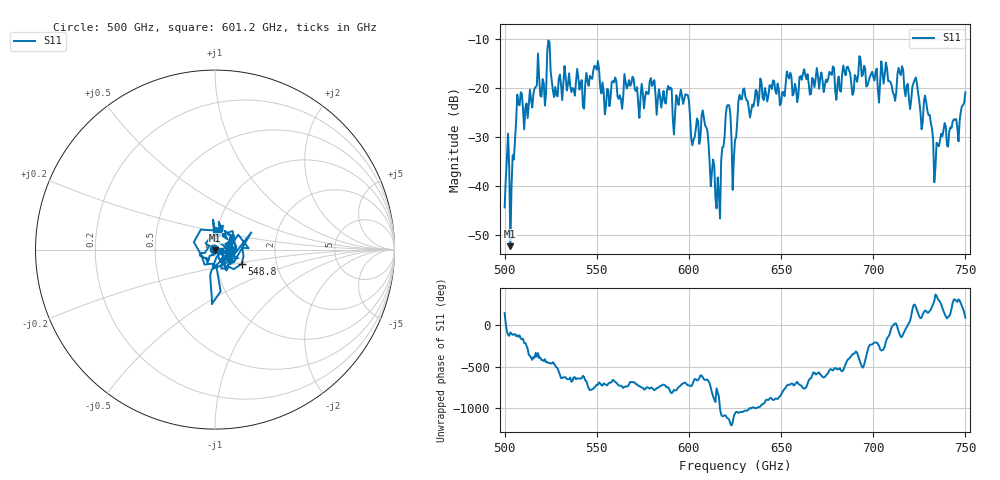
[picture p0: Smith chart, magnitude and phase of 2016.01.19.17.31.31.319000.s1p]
!Created with skrf (http://scikit-rf.org).
# GHz S RI R 50.0
!freq ReS11 ImS11
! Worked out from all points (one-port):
!   401 points, 500 GHz to 750 GHz, reference 50 ohm
!   lowest |S11| = -52.3 dB at 503.1 GHz (marker M1), VSWR 1.00, Z = 50 - j0.241 ohm
!   |S11| at or under -10 dB: start of sweep to end of sweep
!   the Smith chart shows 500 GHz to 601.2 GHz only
!   S11 on the Smith chart (normalised r, x): 500 GHz: 0.99, +0.01; 548.8 GHz: 1.33, -0.22; 601.2 GHz: 1.06, -0.02
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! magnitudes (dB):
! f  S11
! 500 GHz  -44.4
! 503.1 GHz  -52.3
! 504.4 GHz  -33.8
! 508.1 GHz  -23.5
! 521.2 GHz  -19.1
! 524.4 GHz  -10.7
! 527.5 GHz  -19.8
! 531.2 GHz  -22.5
! 548.8 GHz  -15.5
! 562.5 GHz  -21.5
! 580 GHz  -19.6
! 593.8 GHz  -22.3
! 598.8 GHz  -21.4
! 601.2 GHz  -30.3
! 608.8 GHz  -27.6
! 615.6 GHz  -38.3
! 621.2 GHz  -23.5
! 625 GHz  -30.7
! 628.8 GHz  -22.3
! 656.2 GHz  -21.6
! 687.5 GHz  -17.0
! 705.6 GHz  -19.1
! 711.2 GHz  -21.5
! 715 GHz  -17.4
! 718.8 GHz  -19.2
! 728.8 GHz  -22.9
! 734.4 GHz  -31.2
! 750 GHz  -20.9
